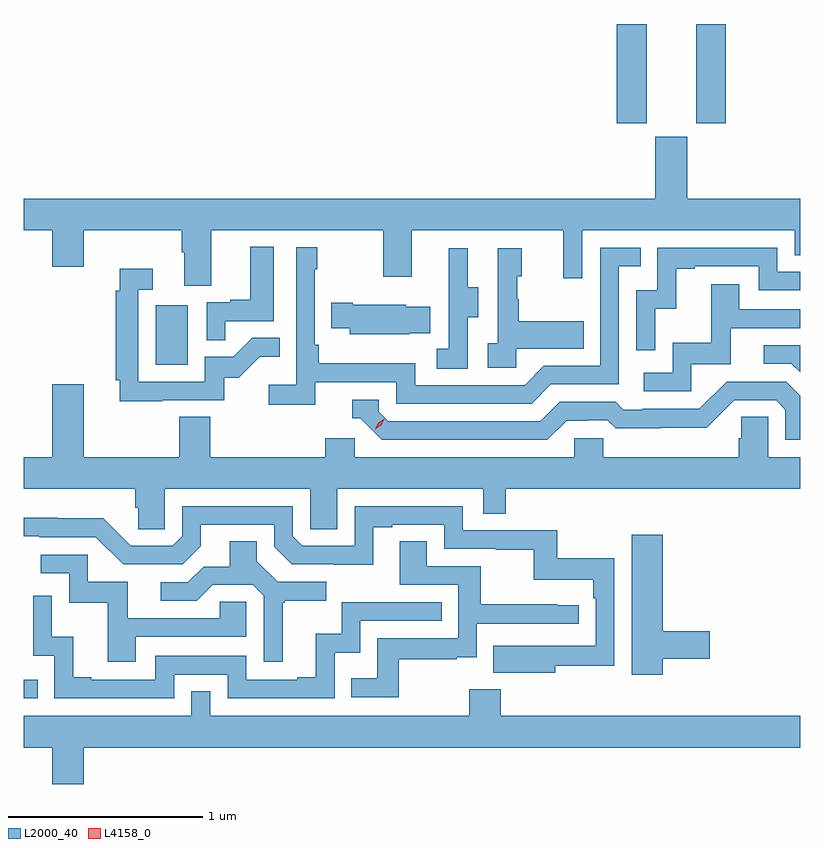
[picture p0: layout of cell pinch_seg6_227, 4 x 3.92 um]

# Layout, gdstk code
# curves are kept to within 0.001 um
import gdstk
lib = gdstk.Library(unit=1e-6, precision=1e-09)
def R(c, l, rs):  # rectangles x0, y0, x1, y1
    for r in rs: c.add(gdstk.rectangle(r[:2], r[2:], *l))
def P(c, l, *ps):  # polygons
    for p in ps: c.add(gdstk.Polygon(p, *l))
L2000_40 = (2000, 40)
L4158_0 = (4158, 0)

pinch_seg6_227 = lib.new_cell('pinch_seg6_227')
R(pinch_seg6_227, L2000_40, [(1099.926,928.941,1099.997,929.037), (1100.606,930.66,1100.77,930.967), (1102.982,931.905,1103.134,932.415), (1103.39,931.905,1103.543,932.415)])
P(pinch_seg6_227, L2000_40, [(1100.893,931.352),(1101.778,931.352),(1101.778,931.113),(1101.925,931.113),(1101.925,931.352),(1102.706,931.352),(1102.706,931.104),(1102.803,931.104),(1102.803,931.352),(1103.898,931.352),(1103.898,931.225),(1103.926,931.225),(1103.926,931.516),(1103.344,931.516),(1103.344,931.833),(1103.18,931.833),(1103.18,931.516),(1099.926,931.516),(1099.926,931.352),(1100.072,931.352),(1100.072,931.164),(1100.236,931.164),(1100.236,931.352),(1100.741,931.352),(1100.741,931.24),(1100.753,931.24),(1100.753,931.066),(1100.893,931.066)],
  [(1100.963,930.885),(1101.214,930.885),(1101.214,931.267),(1101.092,931.267),(1101.092,930.994),(1100.989,930.994),(1100.989,930.981),(1100.868,930.981),(1100.868,930.787),(1100.963,930.787)],
  [(1101.428,930.57),(1101.846,930.57),(1101.846,930.459),(1102.543,930.459),(1102.642,930.558),(1102.992,930.558),(1102.992,931.167),(1103.105,931.167),(1103.105,931.263),(1102.896,931.263),(1102.896,930.654),(1102.605,930.654),(1102.506,930.555),(1101.942,930.555),(1101.942,930.667),(1101.446,930.667),(1101.446,930.763),(1101.426,930.763),(1101.426,931.151),(1101.439,931.151),(1101.439,931.264),(1101.33,931.264),(1101.33,930.556),(1101.189,930.556),(1101.189,930.454),(1101.428,930.454)],
  [(1103.178,930.947),(1103.288,930.947),(1103.288,931.155),(1103.383,931.155),(1103.383,931.167),(1103.712,931.167),(1103.712,931.044),(1103.926,931.044),(1103.926,931.14),(1103.808,931.14),(1103.808,931.263),(1103.19,931.263),(1103.19,931.044),(1103.082,931.044),(1103.082,930.735),(1103.178,930.735)],
  [(1102.212,930.904),(1102.267,930.904),(1102.267,931.059),(1102.213,931.059),(1102.213,931.261),(1102.115,931.261),(1102.115,931.047),(1102.116,931.047),(1102.116,930.743),(1102.053,930.743),(1102.053,930.64),(1102.212,930.64)],
  [(1102.464,930.743),(1102.811,930.743),(1102.811,930.883),(1102.477,930.883),(1102.477,930.998),(1102.467,930.998),(1102.467,931.116),(1102.492,931.116),(1102.492,931.261),(1102.368,931.261),(1102.368,930.77),(1102.317,930.77),(1102.317,930.645),(1102.464,930.645)],
  [(1100.639,930.477),(1100.958,930.477),(1100.958,930.594),(1101.034,930.594),(1101.141,930.701),(1101.245,930.701),(1101.245,930.8),(1101.102,930.8),(1101.004,930.702),(1100.859,930.702),(1100.859,930.573),(1100.517,930.573),(1100.517,931.047),(1100.59,931.047),(1100.59,931.153),(1100.42,931.153),(1100.42,931.04),(1100.401,931.04),(1100.401,930.58),(1100.42,930.58),(1100.42,930.472),(1100.639,930.472)],
  [(1103.364,930.663),(1103.569,930.663),(1103.569,930.849),(1103.926,930.849),(1103.926,930.945),(1103.611,930.945),(1103.611,931.075),(1103.467,931.075),(1103.467,930.772),(1103.268,930.772),(1103.268,930.618),(1103.121,930.618),(1103.121,930.522),(1103.364,930.522)],
  [(1101.911,930.821),(1102.019,930.821),(1102.019,930.958),(1101.894,930.958),(1101.894,930.97),(1101.622,930.97),(1101.622,930.978),(1101.511,930.978),(1101.511,930.848),(1101.605,930.848),(1101.605,930.818),(1101.911,930.818)],
  [(1103.926,930.759),(1103.739,930.759),(1103.739,930.666),(1103.88,930.666),(1103.926,930.62)],
  [(1102.723,930.372),(1102.83,930.372),(1102.83,930.375),(1102.933,930.375),(1102.975,930.333),(1103.208,930.333),(1103.208,930.335),(1103.444,930.335),(1103.586,930.477),(1103.802,930.477),(1103.85,930.429),(1103.85,930.273),(1103.926,930.273),(1103.926,930.5),(1103.853,930.573),(1103.547,930.573),(1103.406,930.432),(1103.113,930.432),(1103.113,930.429),(1103.014,930.429),(1102.975,930.468),(1102.686,930.468),(1102.587,930.369),(1101.804,930.369),(1101.756,930.417),(1101.756,930.48),(1101.617,930.48),(1101.617,930.384),(1101.66,930.384),(1101.771,930.273),(1102.624,930.273)],
  [(1100.652,930.02),(1101.402,930.02),(1101.402,929.812),(1101.541,929.812),(1101.541,930.02),(1102.293,930.02),(1102.293,929.893),(1102.409,929.893),(1102.409,930.02),(1103.926,930.02),(1103.926,930.184),(1103.76,930.184),(1103.76,930.392),(1103.623,930.392),(1103.623,930.282),(1103.609,930.282),(1103.609,930.184),(1102.911,930.184),(1102.911,930.282),(1102.761,930.282),(1102.761,930.184),(1101.63,930.184),(1101.63,930.282),(1101.479,930.282),(1101.479,930.184),(1100.888,930.184),(1100.888,930.392),(1100.728,930.392),(1100.728,930.184),(1100.236,930.184),(1100.236,930.559),(1100.072,930.559),(1100.072,930.184),(1099.926,930.184),(1099.926,930.02),(1100.501,930.02),(1100.501,929.922),(1100.515,929.922),(1100.515,929.812),(1100.652,929.812)],
  [(1102.663,929.11),(1102.968,929.11),(1102.968,929.662),(1102.675,929.662),(1102.675,929.808),(1102.188,929.808),(1102.188,929.931),(1101.63,929.931),(1101.63,929.727),(1101.36,929.727),(1101.312,929.775),(1101.312,929.931),(1100.742,929.931),(1100.742,929.775),(1100.694,929.727),(1100.478,929.727),(1100.336,929.869),(1100.1,929.869),(1100.1,929.872),(1099.926,929.872),(1099.926,929.775),(1100.005,929.775),(1100.005,929.772),(1100.298,929.772),(1100.439,929.631),(1100.745,929.631),(1100.839,929.725),(1100.839,929.835),(1101.216,929.835),(1101.216,929.721),(1101.306,929.631),(1101.727,929.63),(1101.727,929.823),(1101.823,929.823),(1101.823,929.835),(1102.092,929.835),(1102.092,929.712),(1102.357,929.712),(1102.357,929.707),(1102.554,929.707),(1102.554,929.552),(1102.859,929.552),(1102.859,929.456),(1102.872,929.456),(1102.872,929.211),(1102.345,929.212),(1102.345,929.072),(1102.663,929.072)],
  [(1103.218,929.146),(1103.461,929.146),(1103.461,929.288),(1103.218,929.288),(1103.218,929.785),(1103.057,929.785),(1103.057,929.064),(1103.218,929.064)],
  [(1101.859,929.142),(1102.157,929.142),(1102.157,929.153),(1102.26,929.153),(1102.26,929.325),(1102.786,929.325),(1102.786,929.421),(1102.673,929.421),(1102.673,929.426),(1102.28,929.426),(1102.28,929.622),(1102.003,929.622),(1102.003,929.75),(1101.863,929.75),(1101.863,929.526),(1102.164,929.526),(1102.164,929.25),(1101.748,929.25),(1101.748,929.044),(1101.613,929.044),(1101.613,928.947),(1101.859,928.947)],
  [(1101.259,929.433),(1101.271,929.433),(1101.271,929.444),(1101.484,929.444),(1101.484,929.541),(1101.234,929.541),(1101.127,929.648),(1101.127,929.75),(1100.987,929.75),(1100.987,929.618),(1100.852,929.618),(1100.772,929.538),(1100.631,929.538),(1100.631,929.445),(1100.818,929.445),(1100.899,929.526),(1101.105,929.526),(1101.162,929.469),(1101.162,929.13),(1101.259,929.13)],
  [(1100.503,929.259),(1101.072,929.259),(1101.072,929.439),(1100.935,929.439),(1100.935,929.355),(1100.461,929.355),(1100.461,929.541),(1100.256,929.541),(1100.256,929.682),(1100.013,929.682),(1100.013,929.586),(1100.16,929.586),(1100.16,929.433),(1100.359,929.433),(1100.359,929.13),(1100.503,929.13)],
  [(1100.7,929.064),(1100.976,929.064),(1100.976,928.941),(1101.528,928.941),(1101.528,929.177),(1101.66,929.177),(1101.66,929.34),(1102.079,929.34),(1102.079,929.436),(1101.564,929.436),(1101.564,929.275),(1101.431,929.275),(1101.431,929.05),(1101.335,929.05),(1101.335,929.037),(1101.072,929.037),(1101.072,929.16),(1100.604,929.16),(1100.604,929.037),(1100.275,929.037),(1100.275,929.05),(1100.18,929.05),(1100.18,929.258),(1100.07,929.258),(1100.07,929.47),(1099.974,929.47),(1099.974,929.16),(1100.082,929.16),(1100.082,928.941),(1100.7,928.941)],
  [(1100.236,928.688),(1103.926,928.688),(1103.926,928.852),(1102.382,928.852),(1102.382,928.987),(1102.222,928.987),(1102.222,928.852),(1100.886,928.852),(1100.886,928.979),(1100.79,928.979),(1100.79,928.852),(1099.926,928.852),(1099.926,928.688),(1100.072,928.688),(1100.072,928.5),(1100.236,928.5)])
P(pinch_seg6_227, L4158_0, [(1101.736,930.328),(1101.736,930.328),(1101.752,930.361),(1101.782,930.381),(1101.782,930.381),(1101.782,930.381),(1101.767,930.348),(1101.736,930.328)])

lib.write_gds('pinch_seg6_227.gds')
